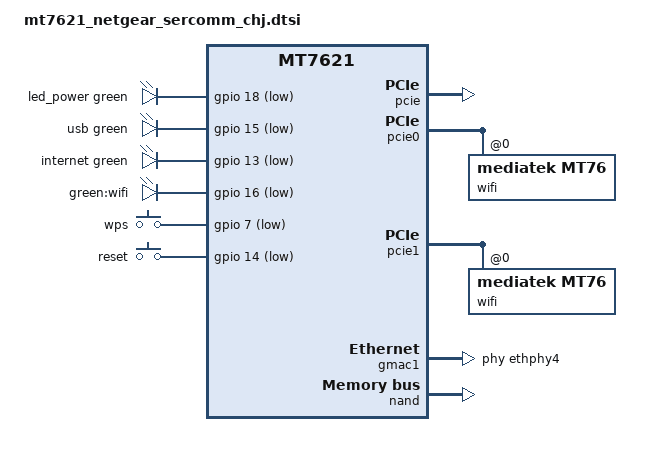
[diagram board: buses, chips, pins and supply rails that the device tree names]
// SPDX-License-Identifier: GPL-2.0-only

#include "mt7621.dtsi"

#include <dt-bindings/gpio/gpio.h>
#include <dt-bindings/input/input.h>
#include <dt-bindings/leds/common.h>

/ {
	compatible = "mediatek,mt7621-soc";

	aliases {
		led-boot = &led_power;
		led-failsafe = &led_power;
		led-running = &led_power;
		led-upgrade = &led_power;
		label-mac-device = &gmac0;
	};

	leds {
		compatible = "gpio-leds";

		led_power: power {
			function = LED_FUNCTION_POWER;
			color = <LED_COLOR_ID_GREEN>;
			gpios = <&gpio 18 GPIO_ACTIVE_LOW>;
		};

		usb {
			function = LED_FUNCTION_USB;
			color = <LED_COLOR_ID_GREEN>;
			gpios = <&gpio 15 GPIO_ACTIVE_LOW>;
			trigger-sources = <&xhci_ehci_port1>, <&ehci_port2>;
			linux,default-trigger = "usbport";
		};

		internet {
			function = LED_FUNCTION_WAN;
			color = <LED_COLOR_ID_GREEN>;
			gpios = <&gpio 13 GPIO_ACTIVE_LOW>;
		};

		wifi {
			label = "green:wifi";
			gpios = <&gpio 16 GPIO_ACTIVE_LOW>;
			linux,default-trigger = "phy0tpt";
		};
	};

	keys {
		compatible = "gpio-keys";

		wps {
			label = "wps";
			gpios = <&gpio 7 GPIO_ACTIVE_LOW>;
			linux,code = <KEY_WPS_BUTTON>;
		};

		reset {
			label = "reset";
			gpios = <&gpio 14 GPIO_ACTIVE_LOW>;
			linux,code = <KEY_RESTART>;
		};
	};
};

&pcie {
	status = "okay";
};

&pcie0 {
	wifi@0,0 {
		compatible = "mediatek,mt76";
		reg = <0x0 0 0 0 0>;
		nvmem-cells = <&eeprom_factory_8000>;
		nvmem-cell-names = "eeprom";
		ieee80211-freq-limit = <5000000 6000000>;
	};
};

&pcie1 {
	wifi@0,0 {
		compatible = "mediatek,mt76";
		reg = <0x0 0 0 0 0>;
		nvmem-cells = <&eeprom_factory_0>;
		nvmem-cell-names = "eeprom";
		ieee80211-freq-limit = <2400000 2500000>;
	};
};

&gmac0 {
	nvmem-cells = <&macaddr_factory_4 0>;
	nvmem-cell-names = "mac-address";
};

&gmac1 {
	status = "okay";
	label = "wan";
	phy-handle = <&ethphy4>;

	nvmem-cells = <&macaddr_factory_4 2>;
	nvmem-cell-names = "mac-address";
};

&ethphy4 {
	/delete-property/ interrupts;
};

&reg_vbus {
	/delete-property/ regulator-always-on;
	gpios = <&gpio 10 GPIO_ACTIVE_HIGH>;
	enable-active-high;
};

&switch0 {
	ports {
		port@0 {
			status = "okay";
			label = "lan4";
		};

		port@1 {
			status = "okay";
			label = "lan3";
		};

		port@2 {
			status = "okay";
			label = "lan2";
		};

		port@3 {
			status = "okay";
			label = "lan1";
		};
	};
};

&state_default {
	gpio {
		groups = "uart3", "uart2", "jtag", "wdt";
		function = "gpio";
	};
};

&nand {
	status = "okay";

	partitions {
		compatible = "sercomm,sc-partitions", "fixed-partitions";
		#address-cells = <1>;
		#size-cells = <1>;

		partition@0 {
			label = "u-boot";
			reg = <0x0 0x100000>;
			sercomm,scpart-id = <0>;
			read-only;
		};

		partition@100000 {
			label = "SC PART_MAP";
			reg = <0x100000 0x100000>;
			sercomm,scpart-id = <1>;
			read-only;
		};

		partition@200000 {
			label = "kernel";
			reg = <0x200000 0x400000>;
			sercomm,scpart-id = <2>;
		};

		partition@600000 {
			label = "ubi";
			reg = <0x600000 0x2800000>;
			sercomm,scpart-id = <3>;
		};

		partition@2e00000 {
			label = "English UI";
			reg = <0x2e00000 0x200000>;
			sercomm,scpart-id = <4>;
			read-only;
		};

		partition@3000000 {
			label = "ML1";
			reg = <0x3000000 0x200000>;
			sercomm,scpart-id = <5>;
			read-only;
		};

		partition@3200000 {
			label = "ML2";
			reg = <0x3200000 0x200000>;
			sercomm,scpart-id = <6>;
			read-only;
		};

		partition@3400000 {
			label = "ML3";
			reg = <0x3400000 0x200000>;
			sercomm,scpart-id = <7>;
			read-only;
		};

		partition@3600000 {
			label = "ML4";
			reg = <0x3600000 0x200000>;
			sercomm,scpart-id = <8>;
			read-only;
		};

		partition@3800000 {
			label = "ML5";
			reg = <0x3800000 0x200000>;
			sercomm,scpart-id = <9>;
			read-only;
		};

		partition@3a00000 {
			label = "ML6";
			reg = <0x3a00000 0x200000>;
			sercomm,scpart-id = <10>;
			read-only;
		};

		partition@3c00000 {
			label = "ML7";
			reg = <0x3c00000 0x200000>;
			sercomm,scpart-id = <11>;
			read-only;
		};

		partition@3e00000 {
			label = "ML8";
			reg = <0x3e00000 0x200000>;
			sercomm,scpart-id = <12>;
			read-only;
		};

		partition@4000000 {
			label = "ML9";
			reg = <0x4000000 0x200000>;
			sercomm,scpart-id = <13>;
			read-only;
		};

		partition@4200000 {
			label = "ML10";
			reg = <0x4200000 0x200000>;
			sercomm,scpart-id = <14>;
			read-only;
		};

		partition@4400000 {
			label = "ML11";
			reg = <0x4400000 0x200000>;
			sercomm,scpart-id = <15>;
			read-only;
		};

		partition@4600000 {
			label = "factory";
			reg = <0x4600000 0x200000>;
			sercomm,scpart-id = <16>;
			read-only;

			nvmem-layout {
				compatible = "fixed-layout";
				#address-cells = <1>;
				#size-cells = <1>;

				eeprom_factory_0: eeprom@0 {
					reg = <0x0 0x400>;
				};

				eeprom_factory_8000: eeprom@8000 {
					reg = <0x8000 0x4da8>;
				};

				macaddr_factory_4: macaddr@4 {
					compatible = "mac-base";
					reg = <0x4 0x6>;
					#nvmem-cell-cells = <1>;
				};
			};
		};

		partition@4800000 {
			label = "SC Private Data";
			reg = <0x4800000 0x200000>;
			sercomm,scpart-id = <17>;
			read-only;
		};

		partition@4a00000 {
			label = "POT";
			reg = <0x4a00000 0x200000>;
			sercomm,scpart-id = <18>;
			read-only;
		};

		partition@4c00000 {
			label = "Traffic Meter";
			reg = <0x4c00000 0x200000>;
			sercomm,scpart-id = <19>;
			read-only;
		};

		partition@4e00000 {
			label = "SC PID";
			reg = <0x4e00000 0x200000>;
			sercomm,scpart-id = <20>;
			read-only;
		};

		partition@5000000 {
			label = "SC Nvram";
			reg = <0x5000000 0x200000>;
			sercomm,scpart-id = <21>;
			read-only;
		};

		partition@5200000 {
			label = "Ralink Nvram";
			reg = <0x5200000 0x200000>;
			sercomm,scpart-id = <22>;
			read-only;
		};

		partition@5400000 {
			label = "reserved0";
			reg = <0x5400000 0x200000>;
			sercomm,scpart-id = <23>;
			read-only;
		};

		partition@5600000 {
			label = "reserved1";
			reg = <0x5600000 0x200000>;
			sercomm,scpart-id = <24>;
			read-only;
		};

		partition@5800000 {
			label = "reserved2";
			reg = <0x5800000 0x200000>;
			sercomm,scpart-id = <25>;
			read-only;
		};

		partition@5a00000 {
			label = "reserved3";
			reg = <0x5a00000 0x200000>;
			sercomm,scpart-id = <26>;
			read-only;
		};

		partition@5c00000 {
			label = "reserved4";
			reg = <0x5c00000 0x200000>;
			sercomm,scpart-id = <27>;
			read-only;
		};

		partition@5e00000 {
			label = "reserved5";
			reg = <0x5e00000 0x2180000>;
			sercomm,scpart-id = <28>;
			read-only;
		};
	};
};
